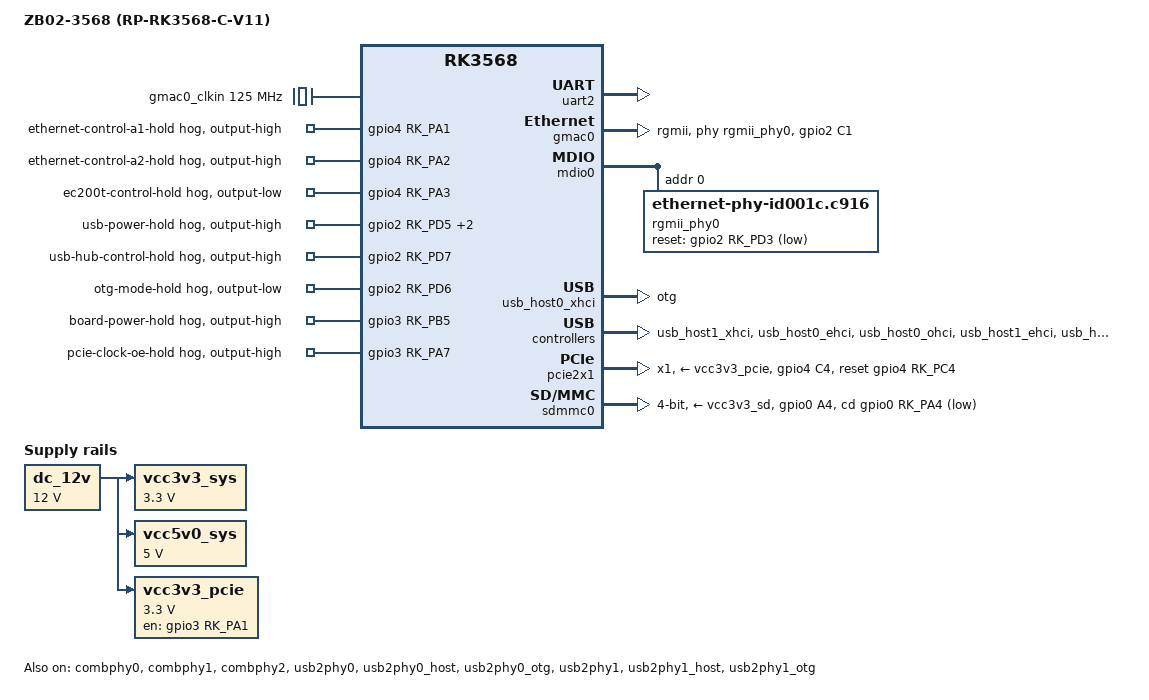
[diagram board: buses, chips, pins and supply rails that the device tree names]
// SPDX-License-Identifier: (GPL-2.0+ OR MIT)
/* ZB02_3568_V1.1 carrier with RP-RK3568-C-V11 core. */
/dts-v1/;
#include "rk3568-rp-core.dtsi"

/ {
	model = "ZB02-3568 (RP-RK3568-C-V11)";
	compatible = "rpdzkj,zb02-3568", "rockchip,rk3568";

	aliases {
		ethernet0 = &gmac0;
		mmc0 = &sdhci;
		mmc1 = &sdmmc0;
		serial2 = &uart2;
	};

	chosen {
		stdout-path = "serial2:1500000n8";
	};

	dc_12v: regulator-dc-12v {
		compatible = "regulator-fixed";
		regulator-name = "dc_12v";
		regulator-always-on;
		regulator-boot-on;
		regulator-min-microvolt = <12000000>;
		regulator-max-microvolt = <12000000>;
	};

	vcc3v3_sys: regulator-vcc3v3-sys {
		compatible = "regulator-fixed";
		regulator-name = "vcc3v3_sys";
		regulator-always-on;
		regulator-boot-on;
		regulator-min-microvolt = <3300000>;
		regulator-max-microvolt = <3300000>;
		vin-supply = <&dc_12v>;
	};

	vcc5v0_sys: regulator-vcc5v0-sys {
		compatible = "regulator-fixed";
		regulator-name = "vcc5v0_sys";
		regulator-always-on;
		regulator-boot-on;
		regulator-min-microvolt = <5000000>;
		regulator-max-microvolt = <5000000>;
		vin-supply = <&dc_12v>;
	};

	vcc3v3_pcie: regulator-vcc3v3-pcie {
		compatible = "regulator-fixed";
		regulator-name = "vcc3v3_pcie";
		regulator-min-microvolt = <3300000>;
		regulator-max-microvolt = <3300000>;
		gpio = <&gpio3 RK_PA1 GPIO_ACTIVE_HIGH>;
		enable-active-high;
		startup-delay-us = <5000>;
		vin-supply = <&dc_12v>;
		pinctrl-names = "default";
		pinctrl-0 = <&pcie_power_en>;
	};

	gmac0_clkin: external-gmac0-clock {
		compatible = "fixed-clock";
		#clock-cells = <0>;
		clock-frequency = <125000000>;
		clock-output-names = "gmac0_clkin";
	};
};

&uart2 {
	pinctrl-names = "default";
	pinctrl-0 = <&uart2m0_xfer>;
	status = "okay";
};

&rknpu_mmu {
	/delete-property/ interrupt-names;
};

/* Multimedia engines are enabled by the vendor variant. */
&vpu { status = "disabled"; };
&vdpu_mmu { status = "disabled"; };
&vepu { status = "disabled"; };
&vepu_mmu { status = "disabled"; };
&rga { status = "disabled"; };

&gmac0 {
	phy-mode = "rgmii";
	clock_in_out = "input";
	assigned-clocks = <&cru SCLK_GMAC0_RX_TX>, <&cru SCLK_GMAC0>,
			  <&cru CLK_MAC0_OUT>;
	assigned-clock-parents = <&cru SCLK_GMAC0_RGMII_SPEED>,
				 <&gmac0_clkin>, <&cru CPLL_25M>;
	assigned-clock-rates = <0>, <125000000>, <25000000>;
	pinctrl-names = "default";
	pinctrl-0 = <&gmac0_miim &gmac0_tx_bus2 &gmac0_rx_bus2
		     &gmac0_rgmii_clk &gmac0_rgmii_bus &gmac0_clkout
		     &gmac0_clkinout>;
	tx_delay = <0x2d>;
	rx_delay = <0x2c>;
	phy-handle = <&rgmii_phy0>;
	status = "okay";
};

&mdio0 {
	rgmii_phy0: ethernet-phy@0 {
		/* The PHY needs its 25 MHz clock before responding to MDIO. */
		compatible = "ethernet-phy-id001c.c916";
		reg = <0>;
		clocks = <&cru CLK_MAC0_OUT>;
		reset-gpios = <&gpio2 RK_PD3 GPIO_ACTIVE_LOW>;
		reset-assert-us = <20000>;
		reset-deassert-us = <100000>;
	};
};

/* No switch/DSA nodes: the carrier uses unmanaged switches. */
&gpio4 {
	ethernet-a1-hog {
		gpio-hog;
		gpios = <RK_PA1 GPIO_ACTIVE_HIGH>;
		output-high;
		line-name = "ethernet-control-a1-hold";
	};
	ethernet-a2-hog {
		gpio-hog;
		gpios = <RK_PA2 GPIO_ACTIVE_HIGH>;
		output-high;
		line-name = "ethernet-control-a2-hold";
	};
	ec200t-control-hog {
		gpio-hog;
		gpios = <RK_PA3 GPIO_ACTIVE_HIGH>;
		output-low;
		line-name = "ec200t-control-hold";
	};
};

/* Preserve observed/default physical levels, without guessing consumers. */
&gpio2 {
	usb-power-hog {
		gpio-hog;
		gpios = <RK_PD5 GPIO_ACTIVE_HIGH>, <RK_PD0 GPIO_ACTIVE_HIGH>,
			<RK_PD1 GPIO_ACTIVE_HIGH>;
		output-high;
		line-name = "usb-power-hold";
	};
	usb-hub-hog {
		gpio-hog;
		gpios = <RK_PD7 GPIO_ACTIVE_HIGH>;
		output-high;
		line-name = "usb-hub-control-hold";
	};
	otg-mode-hog {
		gpio-hog;
		gpios = <RK_PD6 GPIO_ACTIVE_HIGH>;
		output-low;
		line-name = "otg-mode-hold";
	};
};

&gpio3 {
	board-power-hog {
		gpio-hog;
		gpios = <RK_PB5 GPIO_ACTIVE_HIGH>;
		output-high;
		line-name = "board-power-hold";
	};
	pcie-clock-hog {
		gpio-hog;
		gpios = <RK_PA7 GPIO_ACTIVE_HIGH>;
		output-high;
		line-name = "pcie-clock-oe-hold";
	};
};

&pinctrl {
	ethernet {
		gmac0_clkout: gmac0-clkout {
			rockchip,pins = <2 RK_PC1 2 &pcfg_pull_none>;
		};
	};
	pcie {
		pcie_power_en: pcie-power-en {
			rockchip,pins = <3 RK_PA1 RK_FUNC_GPIO &pcfg_pull_none>;
		};
		pcie_reset: pcie-reset {
			rockchip,pins = <4 RK_PC4 RK_FUNC_GPIO &pcfg_pull_none>;
		};
	};
	sdmmc0 {
		sdmmc0_cd: sdmmc0-cd {
			rockchip,pins = <0 RK_PA4 RK_FUNC_GPIO &pcfg_pull_up>;
		};
	};
};

&combphy0 { status = "okay"; };
&combphy1 { status = "okay"; };
&combphy2 { status = "okay"; };

&usb2phy0 { status = "okay"; };
&usb2phy0_host { status = "okay"; };
&usb2phy0_otg { status = "okay"; };
&usb2phy1 { status = "okay"; };
&usb2phy1_host { status = "okay"; };
&usb2phy1_otg { status = "okay"; };

&usb_host0_xhci {
	dr_mode = "otg";
	extcon = <&usb2phy0>;
	status = "okay";
};
&usb_host1_xhci { status = "okay"; };
&usb_host0_ehci { status = "okay"; };
&usb_host0_ohci { status = "okay"; };
&usb_host1_ehci { status = "okay"; };
&usb_host1_ohci { status = "okay"; };

&pcie2x1 {
	num-lanes = <1>;
	max-link-speed = <2>;
	/* This driver drives logical 0 while asserting PERST, 1 on release. */
	reset-gpios = <&gpio4 RK_PC4 GPIO_ACTIVE_HIGH>;
	vpcie3v3-supply = <&vcc3v3_pcie>;
	pinctrl-names = "default";
	pinctrl-0 = <&pcie_reset>;
	status = "okay";
};

&sdmmc0 {
	bus-width = <4>;
	max-frequency = <50000000>;
	cap-sd-highspeed;
	disable-wp;
	no-1-8-v;
	cd-gpios = <&gpio0 RK_PA4 GPIO_ACTIVE_LOW>;
	pinctrl-names = "default";
	pinctrl-0 = <&sdmmc0_bus4 &sdmmc0_clk &sdmmc0_cmd &sdmmc0_cd>;
	vmmc-supply = <&vcc3v3_sd>;
	vqmmc-supply = <&vccio_sd>;
	status = "okay";
};
